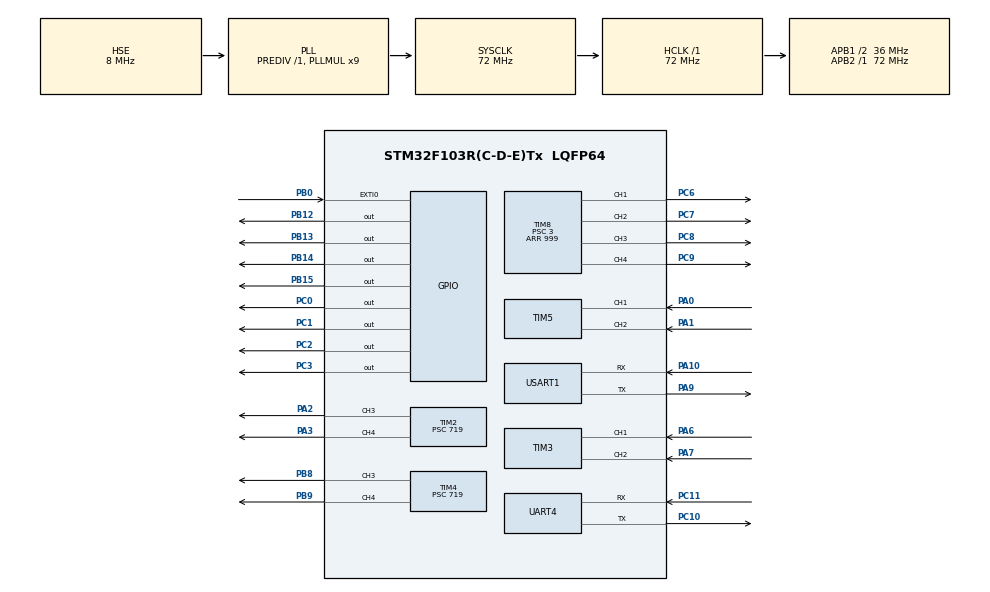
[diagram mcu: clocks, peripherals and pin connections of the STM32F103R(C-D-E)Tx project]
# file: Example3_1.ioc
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Mcu.Family=STM32F1
Mcu.Name=STM32F103R(C-D-E)Tx
Mcu.Package=LQFP64
NVIC.EXTI0_IRQn=true\:0\:0\:false\:false\:true\:true\:true\:true
NVIC.PriorityGroup=NVIC_PRIORITYGROUP_4
NVIC.TIM6_IRQn=true\:0\:0\:false\:false\:true\:true\:true\:true
NVIC.TIM7_IRQn=true\:0\:0\:false\:false\:true\:true\:true\:true
PA0-WKUP.Signal=S_TIM5_CH1
PA1.Signal=S_TIM5_CH2
PA10.Mode=Asynchronous
PA10.Signal=USART1_RX
PA13.Mode=Serial_Wire
PA13.Signal=SYS_JTMS-SWDIO
PA14.Mode=Serial_Wire
PA14.Signal=SYS_JTCK-SWCLK
PA15.Signal=S_TIM2_CH1_ETR
PA2.Signal=S_TIM2_CH3
PA3.Signal=S_TIM2_CH4
PA6.Signal=S_TIM3_CH1
PA7.Signal=S_TIM3_CH2
PA9.Mode=Asynchronous
PA9.Signal=USART1_TX
PB0.GPIO_ModeDefaultEXTI=GPIO_MODE_IT_FALLING
PB0.GPIO_PuPd=GPIO_PULLDOWN
PB0.Signal=GPXTI0
PB12.Signal=GPIO_Output
PB13.Signal=GPIO_Output
PB14.Signal=GPIO_Output
PB15.Signal=GPIO_Output
PB3.Signal=S_TIM2_CH2
PB8.Signal=S_TIM4_CH3
PB9.Signal=S_TIM4_CH4
PC0.Signal=GPIO_Output
PC1.Signal=GPIO_Output
PC10.Mode=Asynchronous
PC10.Signal=UART4_TX
PC11.Mode=Asynchronous
PC11.Signal=UART4_RX
PC2.Signal=GPIO_Output
PC3.Signal=GPIO_Output
PC6.Signal=S_TIM8_CH1
PC7.Signal=S_TIM8_CH2
PC8.Signal=S_TIM8_CH3
PC9.Signal=S_TIM8_CH4
PD0-OSC_IN.Mode=HSE-External-Oscillator
PD0-OSC_IN.Signal=RCC_OSC_IN
PD1-OSC_OUT.Mode=HSE-External-Oscillator
PD1-OSC_OUT.Signal=RCC_OSC_OUT
ProjectManager.HeapSize=0x200
ProjectManager.StackSize=0x400
ProjectManager.TargetToolchain=STM32CubeIDE
RCC.AHBFreq_Value=72000000
RCC.APB1CLKDivider=RCC_HCLK_DIV2
RCC.APB1Freq_Value=36000000
RCC.APB1TimFreq_Value=72000000
RCC.APB2Freq_Value=72000000
RCC.APB2TimFreq_Value=72000000
RCC.HCLKFreq_Value=72000000
RCC.PLLMUL=RCC_PLL_MUL9
RCC.PLLSourceVirtual=RCC_PLLSOURCE_HSE
RCC.SYSCLKFreq_VALUE=72000000
RCC.SYSCLKSource=RCC_SYSCLKSOURCE_PLLCLK
RCC.USBFreq_Value=72000000
SH.S_TIM2_CH1_ETR.0=TIM2_CH1
SH.S_TIM2_CH2.0=TIM2_CH2
SH.S_TIM2_CH3.0=TIM2_CH3,PWM Generation3 CH3
SH.S_TIM2_CH4.0=TIM2_CH4,PWM Generation4 CH4
SH.S_TIM3_CH1.0=TIM3_CH1,Encoder_Interface
SH.S_TIM3_CH2.0=TIM3_CH2,Encoder_Interface
SH.S_TIM4_CH3.0=TIM4_CH3,PWM Generation3 CH3
SH.S_TIM4_CH4.0=TIM4_CH4,PWM Generation4 CH4
SH.S_TIM5_CH1.0=TIM5_CH1,Encoder_Interface
SH.S_TIM5_CH2.0=TIM5_CH2,Encoder_Interface
SH.S_TIM8_CH1.0=TIM8_CH1,PWM Generation1 CH1
SH.S_TIM8_CH2.0=TIM8_CH2,PWM Generation2 CH2
SH.S_TIM8_CH3.0=TIM8_CH3,PWM Generation3 CH3
SH.S_TIM8_CH4.0=TIM8_CH4,PWM Generation4 CH4
TIM2.AutoReloadPreload=TIM_AUTORELOAD_PRELOAD_ENABLE
TIM2.Channel-PWM\ Generation3\ CH3=TIM_CHANNEL_3
TIM2.Channel-PWM\ Generation4\ CH4=TIM_CHANNEL_4
TIM2.Period=1999
TIM2.Prescaler=719
TIM3.AutoReloadPreload=TIM_AUTORELOAD_PRELOAD_ENABLE
TIM3.EncoderMode=TIM_ENCODERMODE_TI12
TIM4.Channel-PWM\ Generation3\ CH3=TIM_CHANNEL_3
TIM4.Channel-PWM\ Generation4\ CH4=TIM_CHANNEL_4
TIM4.Period=1999
TIM4.Prescaler=719
TIM5.EncoderMode=TIM_ENCODERMODE_TI12
TIM6.Period=7199
TIM6.Prescaler=499
TIM7.Prescaler=71
TIM8.Channel-PWM\ Generation1\ CH1=TIM_CHANNEL_1
TIM8.Channel-PWM\ Generation2\ CH2=TIM_CHANNEL_2
TIM8.Channel-PWM\ Generation3\ CH3=TIM_CHANNEL_3
TIM8.Channel-PWM\ Generation4\ CH4=TIM_CHANNEL_4
TIM8.Period=999
TIM8.Prescaler=3
UART4.VirtualMode=Asynchronous
USART1.VirtualMode=VM_ASYNC
VP_TIM2_VS_ClockSourceINT.Mode=Internal
VP_TIM4_VS_ClockSourceINT.Mode=Internal
VP_TIM6_VS_ClockSourceINT.Mode=Enable_Timer
VP_TIM7_VS_ClockSourceINT.Mode=Enable_Timer
VP_TIM8_VS_ClockSourceINT.Mode=Internal
board=custom

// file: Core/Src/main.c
/* USER CODE BEGIN Header */
/**
  ******************************************************************************
  * @file           : main.c
  * @brief          : Main program body
  ******************************************************************************
  * @attention
  *
  * Copyright (c) 2023 STMicroelectronics.
  * All rights reserved.
  *
  * This software is licensed under terms that can be found in the LICENSE file
  * in the root directory of this software component.
  * If no LICENSE file comes with this software, it is provided AS-IS.
  *
  ******************************************************************************
  */
/* USER CODE END Header */
#include "main.h"
#include "tim.h"
#include "usart.h"
#include "gpio.h"

/* USER CODE BEGIN PD */
#define L_DirPort GPIOB
#define CIN1 GPIO_PIN_12
#define CIN2 GPIO_PIN_13
#define DIN1 GPIO_PIN_14
#define DIN2 GPIO_PIN_15

// 对于只有两个电机的车子，AIN1和AIN2是左轮，BIN1和BIN2是右�?
#define R_DirPort GPIOC
#define AIN1 GPIO_PIN_0
#define AIN2 GPIO_PIN_1
#define BIN1 GPIO_PIN_2
#define BIN2 GPIO_PIN_3

#define Velocity_Kp 2.0
#define Velocity_Ki 1.3
#define Velocity_Kd 0.8

#define limit_value 1000
/* USER CODE END PD */

/* USER CODE BEGIN PV */
float B_LTargetSpeed = 0;
float B_RTargetSpeed = 0;

short encoderPulse[2]={0};

uint8_t PPM_Okay = 0;    //标志�?帧数据是否捕获完�?
uint16_t PPM_Sample_Cnt=0;    //PWM通道�?
uint32_t PPM_Time = 0;    //记录PPM时间
uint16_t PPM_Databuf[8] = {0};  //用数组存储每�?帧的时间

PID B_L_PID;
PID B_R_PID;
/* USER CODE END PV */

void SystemClock_Config(void);

/* USER CODE BEGIN 0 */
int myabs(int a)
{
	int temp;
	if(a<0)
	  temp=-a;
	else
	  temp=a;
	return temp;
}

//舵机相关初始�?
void ServoInit()
{
  HAL_TIM_PWM_Start(&htim2,TIM_CHANNEL_3);
	HAL_TIM_PWM_Start(&htim2,TIM_CHANNEL_4);  //启动定时�?2的PWM模式

	HAL_TIM_PWM_Start(&htim4,TIM_CHANNEL_3);
	HAL_TIM_PWM_Start(&htim4,TIM_CHANNEL_4);  //启动定时�?4的PWM模式
}

void Set_Servo_angle(TIM_HandleTypeDef * htim,uint32_t Channel,uint8_t angle)
{
	uint16_t compare_value=0;
	if(angle <= 180)   //限制角度�?180°
	{
		//角度转化为数�?
		compare_value=0.5*2000/20+angle*2000/20/90;
		__HAL_TIM_SET_COMPARE(htim, Channel, compare_value);
	}
}

void ServoControl()
{

	if((PPM_Databuf[2]<990)||(PPM_Databuf[2]>2010))
	{
		Set_Servo_angle(&htim4,TIM_CHANNEL_3,90);
	}
	else
	{
	if(PPM_Databuf[2]<1600&&PPM_Databuf[2]>1400){PPM_Databuf[2] = 1500;}
	if(PPM_Databuf[3]<1600&&PPM_Databuf[3]>1400){PPM_Databuf[3] = 1500;}
	if(PPM_Databuf[6]<1000&&PPM_Databuf[6]>900){PPM_Databuf[6] = 1100;}
	if(PPM_Databuf[7]<1000&&PPM_Databuf[7]>900){PPM_Databuf[7] = 1000;}
	}

	Set_Servo_angle(&htim4,TIM_CHANNEL_4,myabs(0.18*PPM_Databuf[2]-180)); // 对应舵机2口�?��?�左边上下手柄的控制
	Set_Servo_angle(&htim4,TIM_CHANNEL_3,myabs(0.18*PPM_Databuf[3]-180)); // 对应舵机1口�?��?�左边左右手柄的控制

	Set_Servo_angle(&htim2,TIM_CHANNEL_4,myabs(0.18*PPM_Databuf[6]-180));
	Set_Servo_angle(&htim2,TIM_CHANNEL_3,myabs(0.18*PPM_Databuf[7]-180));
}
/*  电机相关初始�?
*/
void MotorInit()
{
	HAL_TIM_PWM_Start(&htim8,TIM_CHANNEL_2);
	HAL_TIM_PWM_Start(&htim8,TIM_CHANNEL_1);
}

void EncoderInit()
{
	HAL_TIM_Encoder_Start(&htim3,TIM_CHANNEL_1);  //启动定时�?3的编码器模式
	HAL_TIM_Encoder_Start(&htim3,TIM_CHANNEL_2);

	HAL_TIM_Encoder_Start(&htim5,TIM_CHANNEL_1);  //启动定时�?5的编码器模式
	HAL_TIM_Encoder_Start(&htim5,TIM_CHANNEL_2);
}

/*
*		左轮 JP5  TIM8_CH1
*		右轮 JP4  TIM8_CH2
*/
void B_Left_Go()
{
		HAL_GPIO_WritePin(R_DirPort,AIN1,GPIO_PIN_SET);
		HAL_GPIO_WritePin(R_DirPort,AIN2,GPIO_PIN_RESET);
}

void B_Right_Go()
{
		HAL_GPIO_WritePin(R_DirPort,BIN1,GPIO_PIN_SET);
		HAL_GPIO_WritePin(R_DirPort,BIN2,GPIO_PIN_RESET);
}

void B_Left_Back()
{
		HAL_GPIO_WritePin(R_DirPort,AIN1,GPIO_PIN_RESET);
		HAL_GPIO_WritePin(R_DirPort,AIN2,GPIO_PIN_SET);
}

void B_Right_Back()
{
		HAL_GPIO_WritePin(R_DirPort,BIN1,GPIO_PIN_RESET);
		HAL_GPIO_WritePin(R_DirPort,BIN2,GPIO_PIN_SET);
}

void B_Left_Stop()
{
		HAL_GPIO_WritePin(R_DirPort,AIN1,GPIO_PIN_RESET);
		HAL_GPIO_WritePin(R_DirPort,AIN2,GPIO_PIN_RESET);
}

void B_Right_Stop()
{
		HAL_GPIO_WritePin(R_DirPort,BIN1,GPIO_PIN_RESET);
		HAL_GPIO_WritePin(R_DirPort,BIN2,GPIO_PIN_RESET);
}
/**
*	@brief Control Motor Speed
*	@param PWM
*	@retval None
*/
void MotorControl(int B_L_PWM, int B_R_PWM)
{
		if(B_L_PWM >= 0)//前进方向运动
		{
//				B_Left_Go();
			B_Left_Back();
		}
    else
    {
//        B_Left_Back();
    	B_Left_Go();
    }
			__HAL_TIM_SET_COMPARE(&htim8,TIM_CHANNEL_1,myabs(B_L_PWM));

		if(B_R_PWM >= 0)		//后�??方向运动
		{
//        B_Right_Go();
			B_Right_Back();

    }
    else
    {
//      B_Right_Back();
    	B_Right_Go();
    }
			__HAL_TIM_SET_COMPARE(&htim8,TIM_CHANNEL_2,myabs(B_R_PWM));

}

void GetEncoderPulse()
{
	  encoderPulse[0] = -((short)__HAL_TIM_GET_COUNTER(&htim5));	//获取左轮编码器�??
		encoderPulse[1] = -((short)__HAL_TIM_GET_COUNTER(&htim3));  //获取右轮的编码器�?

    __HAL_TIM_GET_COUNTER(&htim3) = 0;
    __HAL_TIM_GET_COUNTER(&htim5) = 0;
}

float CalActualSpeed(int pulse)
{
    return (float)(0.003092424 * pulse);
}

/**
  * @brief  PID相关参数的初始化
  * @param  PID的结构体指针
  */
void PID_Init(PID *p)
{
    p->Kp = Velocity_Kp;
    p->Ki = Velocity_Ki;
    p->Kd = Velocity_Kd;
    p->last_error = 0;
    p->prev_error = 0;
    p->limit = limit_value;
    p->pwm_add = 0;
}

 /**
  * @brief  PID相关参数的初始化
  * @param  PID的结构体指针
  */
int PID_Cal(int targetSpeed,int currentSpeed,PID *p)
{
    int error = targetSpeed - currentSpeed;
    p->pwm_add += p->Kp*(error - p->last_error) + p->Ki*error + p->Kd*(error - 2*p->last_error+p->prev_error);

		p->prev_error = p->last_error;
	  p->last_error = error;

		if(p->pwm_add>p->limit) p->pwm_add=p->limit;
		if(p->pwm_add<-p->limit) p->pwm_add=-p->limit;
}

void MotorRemoteControl()
{
	static uint8_t flag=0;
	if((PPM_Databuf[0]==0)&&(PPM_Databuf[1]==0))
	{
		  B_Left_Stop();
		  B_Right_Stop();
	}
	else
	{
	if(PPM_Databuf[0]<1600&&PPM_Databuf[0]>1400){PPM_Databuf[0] = 1500;}
	else if(PPM_Databuf[0] != 1500){flag = 0;}
	if(PPM_Databuf[1]<1600&&PPM_Databuf[1]>1400){PPM_Databuf[1] = 1500;}
	else if(PPM_Databuf[1] != 1500){flag = 1;}
	switch(flag)
	{
		case 0:
			if(PPM_Databuf[0] == 1500)
			{
				MotorControl(0,0);
			}
//			if(PPM_Databuf[0]>1600)
//			{
//				MotorControl(myabs(PPM_Databuf[0]-1500),0);
//			}
//			else if(PPM_Databuf[0]<1400)
//			{
//				MotorControl(0,myabs(PPM_Databuf[0]-1500));
//			}
			break;
		case 1:MotorControl(PPM_Databuf[1]-1500,PPM_Databuf[1]-1500);break;

	}
	}
}
/* USER CODE END 0 */

int main(void)
{

  /* MCU Configuration--------------------------------------------------------*/

  /* Reset of all peripherals, Initializes the Flash interface and the Systick. */
  HAL_Init();

  /* Configure the system clock */
  SystemClock_Config();

  /* Initialize all configured peripherals */
  MX_GPIO_Init();
  MX_TIM2_Init();
  MX_TIM4_Init();
  MX_TIM6_Init();
  MX_TIM7_Init();
  MX_TIM8_Init();
  MX_USART1_UART_Init();
  MX_TIM3_Init();
  MX_TIM5_Init();
  MX_UART4_Init();
  /* USER CODE BEGIN 2 */
  HAL_TIM_Base_Start_IT(&htim6);  //使能定时�?6中断
  HAL_TIM_Base_Start_IT(&htim7);  //使能定时�?7中断
  MotorInit();
  ServoInit();
  EncoderInit();
  PID_Init(&B_L_PID);
  PID_Init(&B_R_PID);
//  B_Left_Stop();
//  B_Right_Stop();

  /* USER CODE END 2 */

  /* Infinite loop */
  while (1)
  {

    /* USER CODE BEGIN 3 */
	  MotorRemoteControl();
	  	      ServoControl();
	  	  		printf("PPM_Data[0] is %d\r\n",PPM_Databuf[0]);
	  	      printf("PPM_Data[1] is %d\r\n",PPM_Databuf[1]);
	  	      printf("PPM_Data[2] is %d\r\n",PPM_Databuf[2]);
	  	      printf("PPM_Data[3] is %d\r\n",PPM_Databuf[3]);
	  	         printf("PPM_Data[4] is %d\r\n",PPM_Databuf[4]);
	  	      printf("PPM_Data[5] is %d\r\n",PPM_Databuf[5]);
	  	    printf("----------------------------\r\n");
  }
  /* USER CODE END 3 */
}

void SystemClock_Config(void)
{
  RCC_OscInitTypeDef RCC_OscInitStruct = {0};
  RCC_ClkInitTypeDef RCC_ClkInitStruct = {0};

  /** Initializes the RCC Oscillators according to the specified parameters
  * in the RCC_OscInitTypeDef structure.
  */
  RCC_OscInitStruct.OscillatorType = RCC_OSCILLATORTYPE_HSE;
  RCC_OscInitStruct.HSEState = RCC_HSE_ON;
  RCC_OscInitStruct.HSEPredivValue = RCC_HSE_PREDIV_DIV1;
  RCC_OscInitStruct.HSIState = RCC_HSI_ON;
  RCC_OscInitStruct.PLL.PLLState = RCC_PLL_ON;
  RCC_OscInitStruct.PLL.PLLSource = RCC_PLLSOURCE_HSE;
  RCC_OscInitStruct.PLL.PLLMUL = RCC_PLL_MUL9;
  if (HAL_RCC_OscConfig(&RCC_OscInitStruct) != HAL_OK)
  {
    Error_Handler();
  }

  /** Initializes the CPU, AHB and APB buses clocks
  */
  RCC_ClkInitStruct.ClockType = RCC_CLOCKTYPE_HCLK|RCC_CLOCKTYPE_SYSCLK
                              |RCC_CLOCKTYPE_PCLK1|RCC_CLOCKTYPE_PCLK2;
  RCC_ClkInitStruct.SYSCLKSource = RCC_SYSCLKSOURCE_PLLCLK;
  RCC_ClkInitStruct.AHBCLKDivider = RCC_SYSCLK_DIV1;
  RCC_ClkInitStruct.APB1CLKDivider = RCC_HCLK_DIV2;
  RCC_ClkInitStruct.APB2CLKDivider = RCC_HCLK_DIV1;

  if (HAL_RCC_ClockConfig(&RCC_ClkInitStruct, FLASH_LATENCY_2) != HAL_OK)
  {
    Error_Handler();
  }
}

/* USER CODE BEGIN 4 */
void HAL_TIM_PeriodElapsedCallback(TIM_HandleTypeDef *htim)  //定时�?6中断回调函数
{
	float B_LSpeed,B_RSpeed;
  if(htim==(&htim6))
  {
		GetEncoderPulse();
		B_LSpeed = CalActualSpeed(encoderPulse[0]);   //获得当前的�?�度�?
		B_RSpeed = CalActualSpeed(encoderPulse[1]);

		PID_Cal(B_LTargetSpeed*100,B_LSpeed*100,&B_L_PID);
		PID_Cal(B_RTargetSpeed*100,B_RSpeed*100,&B_R_PID);

//		MotorControl(B_L_PID.pwm_add,B_R_PID.pwm_add);
//	printf("leftpwmadd %d\r\n",F_L_PID.pwm_add);
//	printf("rightpwmadd %d\r\n",F_R_PID.pwm_add);
//	printf("F_RRRPulse is %d\r\n",encoderPulse[0]);
//	printf("B_RRRPulse is %d\r\n",encoderPulse[1]);
//	printf("F_LLLPulse is %d\r\n",encoderPulse[2]);
//	printf("B_LLLPulse is %d\r\n",encoderPulse[3]);
//	printf("----------------------------\r\n");
//		printf("{bbbbrrrrSpeed is:%.2f}\r\n",B_RSpeed);
//		printf("{bbbbllllSpeed is:%.2f}\r\n",B_LSpeed);
  }
}
void HAL_GPIO_EXTI_Callback(uint16_t GPIO_Pin)
{
	if(GPIO_Pin == GPIO_PIN_0)
	{
		PPM_Time = __HAL_TIM_GET_COUNTER(&htim7);
		__HAL_TIM_GET_COUNTER(&htim7) = 0;
			if(PPM_Time > 0)
			{
			  PPM_Time++;
			}
		if(PPM_Okay == 1)
		{
			PPM_Databuf[PPM_Sample_Cnt] = PPM_Time;
			PPM_Sample_Cnt++;
			if(PPM_Sample_Cnt > 8) PPM_Okay = 0;
		}
		if(PPM_Time>=3000)
		{
			PPM_Okay = 1;
			PPM_Sample_Cnt = 0;
		}
	}
}
/* USER CODE END 4 */

void Error_Handler(void)
{
  __disable_irq();
  while (1)
  {
  }
}
